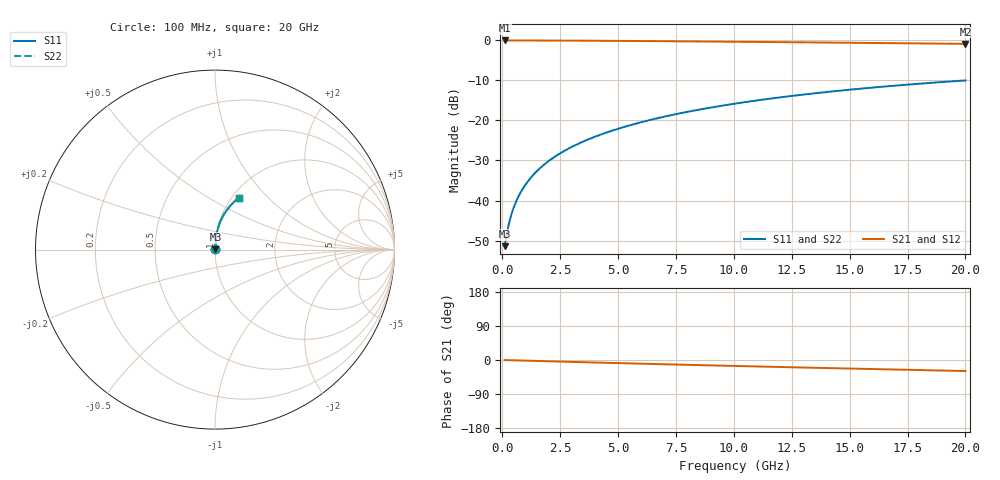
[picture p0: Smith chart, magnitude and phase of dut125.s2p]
! Touchstone file exported from HFSS 2024.1.0
!  File:  C:/UserFiles/LocalFiles/RDL_TSV_Batchsim/temp_RDL_bottom_125_1778696229.aedt
!  Generated:  02:20:07 AM May 14, 2026
!  Design:  RDL_bottom
!  Project:  temp_RDL_bottom_125_1778696229
!  Setup:  Setup1
!  Solution:  Sweep
! Variables:
!  dtsv = 10.80580581um
!  hbump = 3um
!  htsv = 77.63um
!  ldown = 367.62um
!  lrdl = 100um
!  p = 40
!  p1 = 51.59um
!  rhole = 1um
!  t = 450um
!  tdown = 3.54um
!  trdl = 3.915915916um
!  wdown = 18.96um
!  wrdl = 20um
# GHz S MA R 50.000000
! Terminal data exported
! Port[1] = RDL1_T1
! Port[2] = RDL1_T2
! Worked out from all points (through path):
!   200 points, 100 MHz to 20 GHz, reference 50 ohm
!   highest |S21| = -0.02 dB at 100 MHz (marker M1); lowest = -0.9 dB at 20 GHz (marker M2)
!   group delay of S21, straight-line fit = 4.02 ps
!   lowest |S11| = -51.4 dB at 100 MHz (marker M3), VSWR 1.01, Z = 50.2 + j0.165 ohm
!   |S11| at or under -10 dB: start of sweep to end of sweep
!   |S22| runs from -51.4 to -10.0 dB; largest |S21 - S12| = 2e-15
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0.1  0.002689 37.8  0.9979 -0.2  0.9979 -0.2  0.002689 37.8
! Gamma 0 0 0 0
! Port Impedance 50 0 50 0
0.2  0.003933 56.0  0.9978 -0.3  0.9978 -0.3  0.003933 56.0
0.3  0.005348 64.7  0.9977 -0.5  0.9977 -0.5  0.005348 64.7
0.4  0.006805 69.7  0.9976 -0.7  0.9976 -0.7  0.006805 69.7
0.5  0.008276 72.9  0.9975 -0.9  0.9975 -0.9  0.008276 72.9
0.6  0.009758 75.2  0.9974 -1.0  0.9974 -1.0  0.009758 75.2
0.8  0.01274 78.3  0.9972 -1.4  0.9972 -1.4  0.01274 78.3
1.1  0.01727 80.9  0.9968 -1.9  0.9968 -1.9  0.01727 80.9
1.5  0.02338 82.8  0.9963 -2.5  0.9963 -2.5  0.02338 82.8
1.8  0.02799 83.6  0.9957 -3.0  0.9957 -3.0  0.02799 83.6
2.1  0.03263 84.1  0.9952 -3.5  0.9952 -3.5  0.03263 84.1
2.7  0.04198 84.7  0.9937 -4.5  0.9937 -4.5  0.04199 84.7
3.5  0.0546 84.8  0.9914 -5.8  0.9914 -5.8  0.0546 84.8
4.2  0.06578 84.7  0.989 -6.9  0.989 -6.9  0.06578 84.7
5  0.0787 84.2  0.9859 -8.2  0.9859 -8.2  0.07871 84.2
5.9  0.09341 83.6  0.9821 -9.6  0.9821 -9.6  0.09341 83.6
6.8  0.1082 82.7  0.978 -11.0  0.978 -11.0  0.1083 82.7
8.4  0.1348 81.0  0.9702 -13.4  0.9702 -13.4  0.1348 81.0
10.1  0.1631 78.9  0.9614 -15.8  0.9614 -15.8  0.1631 78.9
13.4  0.2168 74.5  0.9435 -20.4  0.9435 -20.4  0.2169 74.5
16.7  0.2681 69.9  0.9247 -24.9  0.9247 -24.9  0.2682 69.9
20  0.3161 65.5  0.9051 -29.1  0.9051 -29.1  0.3162 65.5
